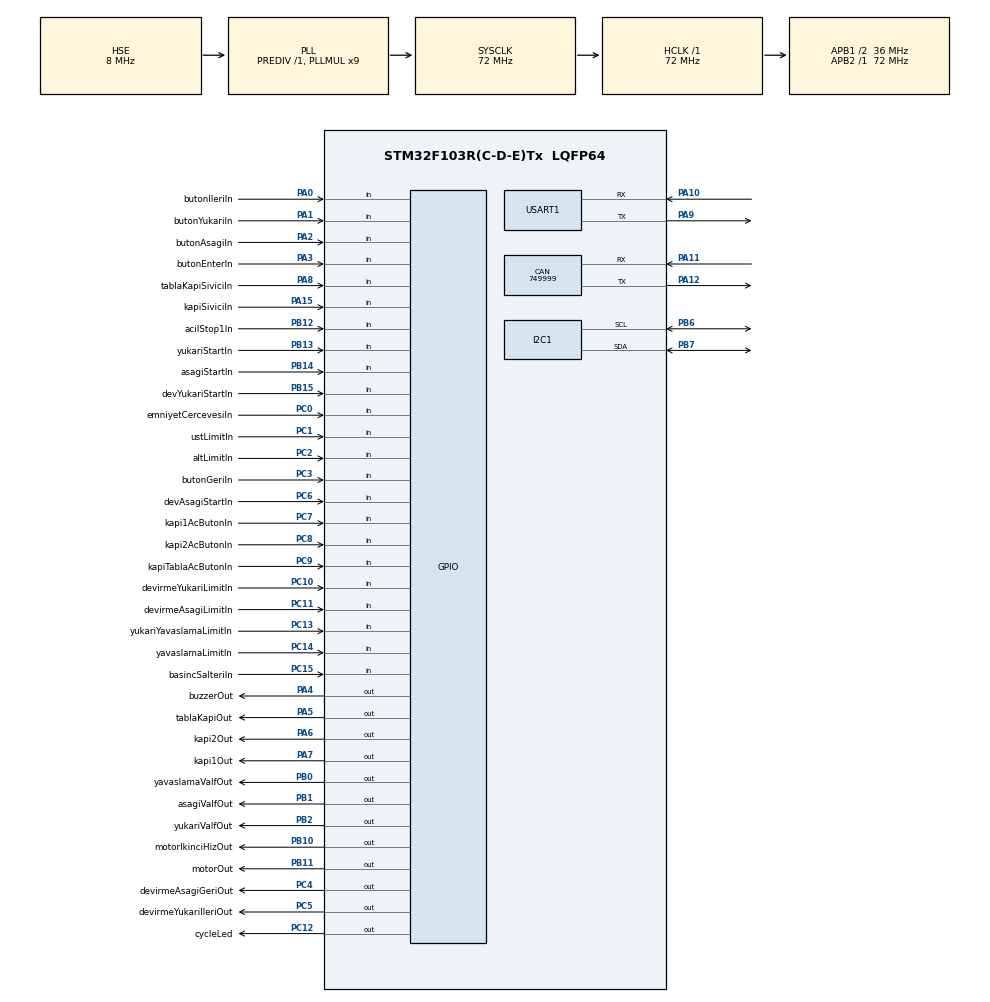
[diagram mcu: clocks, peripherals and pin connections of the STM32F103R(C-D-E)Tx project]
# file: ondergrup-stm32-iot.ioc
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CAN.CalculateBaudRate=749999
CAN.CalculateTimeBit=1333
CAN.CalculateTimeQuantum=444.44444444444446
I2C1.I2C_Mode=I2C_Fast
Mcu.Family=STM32F1
Mcu.Name=STM32F103R(C-D-E)Tx
Mcu.Package=LQFP64
NVIC.PriorityGroup=NVIC_PRIORITYGROUP_4
NVIC.TIM1_UP_IRQn=true\:0\:0\:false\:false\:true\:true\:true\:true
NVIC.USART1_IRQn=true\:0\:0\:false\:false\:true\:true\:true\:true
PA0-WKUP.GPIO_Label=butonIleriIn
PA0-WKUP.Signal=GPIO_Input
PA1.GPIO_Label=butonYukariIn
PA1.Signal=GPIO_Input
PA10.Mode=Asynchronous
PA10.Signal=USART1_RX
PA11.Mode=CAN_Activate
PA11.Signal=CAN_RX
PA12.Mode=CAN_Activate
PA12.Signal=CAN_TX
PA13.Mode=Serial_Wire
PA13.Signal=SYS_JTMS-SWDIO
PA14.Mode=Serial_Wire
PA14.Signal=SYS_JTCK-SWCLK
PA15.GPIO_Label=kapiSiviciIn
PA15.Signal=GPIO_Input
PA2.GPIO_Label=butonAsagiIn
PA2.Signal=GPIO_Input
PA3.GPIO_Label=butonEnterIn
PA3.Signal=GPIO_Input
PA4.GPIO_Label=buzzerOut
PA4.Signal=GPIO_Output
PA5.GPIO_Label=tablaKapiOut
PA5.Signal=GPIO_Output
PA6.GPIO_Label=kapi2Out
PA6.Signal=GPIO_Output
PA7.GPIO_Label=kapi1Out
PA7.Signal=GPIO_Output
PA8.GPIO_Label=tablaKapiSiviciIn
PA8.Signal=GPIO_Input
PA9.Mode=Asynchronous
PA9.Signal=USART1_TX
PB0.GPIO_Label=yavaslamaValfOut
PB0.Signal=GPIO_Output
PB1.GPIO_Label=asagiValfOut
PB1.Signal=GPIO_Output
PB10.GPIO_Label=motorIkinciHizOut
PB10.Signal=GPIO_Output
PB11.GPIO_Label=motorOut
PB11.Signal=GPIO_Output
PB12.GPIO_Label=acilStop1In
PB12.Signal=GPIO_Input
PB13.GPIO_Label=yukariStartIn
PB13.Signal=GPIO_Input
PB14.GPIO_Label=asagiStartIn
PB14.Signal=GPIO_Input
PB15.GPIO_Label=devYukariStartIn
PB15.Signal=GPIO_Input
PB2.GPIO_Label=yukariValfOut
PB2.Signal=GPIO_Output
PB6.Mode=I2C
PB6.Signal=I2C1_SCL
PB7.Mode=I2C
PB7.Signal=I2C1_SDA
PC0.GPIO_Label=emniyetCercevesiIn
PC0.Signal=GPIO_Input
PC1.GPIO_Label=ustLimitIn
PC1.Signal=GPIO_Input
PC10.GPIO_Label=devirmeYukariLimitIn
PC10.Signal=GPIO_Input
PC11.GPIO_Label=devirmeAsagiLimitIn
PC11.Signal=GPIO_Input
PC12.GPIO_Label=cycleLed
PC12.Signal=GPIO_Output
PC13-TAMPER-RTC.GPIO_Label=yukariYavaslamaLimitIn
PC13-TAMPER-RTC.Signal=GPIO_Input
PC14-OSC32_IN.GPIO_Label=yavaslamaLimitIn
PC14-OSC32_IN.Signal=GPIO_Input
PC15-OSC32_OUT.GPIO_Label=basincSalteriIn
PC15-OSC32_OUT.Signal=GPIO_Input
PC2.GPIO_Label=altLimitIn
PC2.Signal=GPIO_Input
PC3.GPIO_Label=butonGeriIn
PC3.Signal=GPIO_Input
PC4.GPIO_Label=devirmeAsagiGeriOut
PC4.Signal=GPIO_Output
PC5.GPIO_Label=devirmeYukariIleriOut
PC5.Signal=GPIO_Output
PC6.GPIO_Label=devAsagiStartIn
PC6.Signal=GPIO_Input
PC7.GPIO_Label=kapi1AcButonIn
PC7.Signal=GPIO_Input
PC8.GPIO_Label=kapi2AcButonIn
PC8.Signal=GPIO_Input
PC9.GPIO_Label=kapiTablaAcButonIn
PC9.Signal=GPIO_Input
PD0-OSC_IN.Mode=HSE-External-Oscillator
PD0-OSC_IN.Signal=RCC_OSC_IN
PD1-OSC_OUT.Mode=HSE-External-Oscillator
PD1-OSC_OUT.Signal=RCC_OSC_OUT
ProjectManager.HeapSize=0x200
ProjectManager.StackSize=0x400
ProjectManager.TargetToolchain=STM32CubeIDE
RCC.AHBFreq_Value=72000000
RCC.APB1CLKDivider=RCC_HCLK_DIV2
RCC.APB1Freq_Value=36000000
RCC.APB1TimFreq_Value=72000000
RCC.APB2Freq_Value=72000000
RCC.APB2TimFreq_Value=72000000
RCC.HCLKFreq_Value=72000000
RCC.PLLMUL=RCC_PLL_MUL9
RCC.PLLSourceVirtual=RCC_PLLSOURCE_HSE
RCC.SYSCLKFreq_VALUE=72000000
RCC.SYSCLKSource=RCC_SYSCLKSOURCE_PLLCLK
RCC.USBFreq_Value=72000000
TIM1.Period=1999
TIM1.Prescaler=35999
USART1.VirtualMode=VM_ASYNC
VP_CRC_VS_CRC.Mode=CRC_Activate
VP_TIM1_VS_ClockSourceINT.Mode=Internal
board=custom

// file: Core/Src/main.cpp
/* USER CODE BEGIN Header */
/**
  ******************************************************************************
  * @file           : main.c
  * @brief          : Main program body
  ******************************************************************************
  * @attention
  *
  * Copyright (c) 2024 STMicroelectronics.
  * All rights reserved.
  *
  * This software is licensed under terms that can be found in the LICENSE file
  * in the root directory of this software component.
  * If no LICENSE file comes with this software, it is provided AS-IS.
  *
  ******************************************************************************
  */
/* USER CODE END Header */
#include "main.h"
/* USER CODE BEGIN Includes */
#include "Instance.h"
#include "HardwareTest.h"
/* USER CODE END Includes */

CAN_HandleTypeDef hcan;

CRC_HandleTypeDef hcrc;

I2C_HandleTypeDef hi2c1;

TIM_HandleTypeDef htim1;

UART_HandleTypeDef huart1;

void SystemClock_Config(void);
static void MX_GPIO_Init(void);
static void MX_CAN_Init(void);
static void MX_I2C1_Init(void);
static void MX_TIM1_Init(void);
static void MX_USART1_UART_Init(void);
static void MX_CRC_Init(void);

/* USER CODE BEGIN 0 */
void HAL_TIM_PeriodElapsedCallback(TIM_HandleTypeDef *htim) { /*------timer kesmesinde islem yapmak için */
	globalVars.millis=globalVars.millis+1;
}
/* USER CODE END 0 */

int main(void)
{

  /* MCU Configuration--------------------------------------------------------*/

  /* Reset of all peripherals, Initializes the Flash interface and the Systick. */
  HAL_Init();

  /* Configure the system clock */
  SystemClock_Config();

  /* Initialize all configured peripherals */
  MX_GPIO_Init();
  MX_CAN_Init();
  MX_I2C1_Init();
  MX_TIM1_Init();
  MX_USART1_UART_Init();
  MX_CRC_Init();
  /* USER CODE BEGIN 2 */
  esp.init(&huart1, "yourSSID", "yourPassword");

  //Update
  checkAndUpdateFirmware(&huart1);

  HAL_GPIO_WritePin(GPIOB, GPIO_PIN_6, GPIO_PIN_SET);
  HAL_GPIO_WritePin(GPIOB, GPIO_PIN_7, GPIO_PIN_SET);
  HAL_Delay(10);
  lcd.init();
  HAL_Delay(10);

  HAL_TIM_Base_Start_IT(&htim1);
  while(HAL_I2C_GetError(&hi2c1) == HAL_I2C_ERROR_AF);
  while (HAL_I2C_GetState(&hi2c1) != HAL_I2C_STATE_READY);

  HAL_GPIO_WritePin(motorOut_GPIO_Port, motorOut_Pin, GPIO_PIN_RESET);
  HAL_GPIO_WritePin(motorIkinciHizOut_GPIO_Port, motorIkinciHizOut_Pin, GPIO_PIN_RESET);
  HAL_GPIO_WritePin(yukariValfOut_GPIO_Port, yukariValfOut_Pin, GPIO_PIN_RESET);
  HAL_GPIO_WritePin(asagiValfOut_GPIO_Port, asagiValfOut_Pin, GPIO_PIN_RESET);
  HAL_GPIO_WritePin(yavaslamaValfOut_GPIO_Port, yavaslamaValfOut_Pin, GPIO_PIN_RESET);
  HAL_GPIO_WritePin(devirmeYukariIleriOut_GPIO_Port, devirmeYukariIleriOut_Pin, GPIO_PIN_RESET);
  HAL_GPIO_WritePin(devirmeAsagiGeriOut_GPIO_Port, devirmeAsagiGeriOut_Pin, GPIO_PIN_RESET);
  HAL_GPIO_WritePin(kapi1Out_GPIO_Port, kapi1Out_Pin, GPIO_PIN_RESET);
  HAL_GPIO_WritePin(kapi2Out_GPIO_Port, kapi2Out_Pin, GPIO_PIN_RESET);
  HAL_GPIO_WritePin(tablaKapiOut_GPIO_Port, tablaKapiOut_Pin, GPIO_PIN_RESET);
  HAL_GPIO_WritePin(buzzerOut_GPIO_Port, buzzerOut_Pin, GPIO_PIN_RESET);

  i2cTest();
  HAL_Delay(100);
  lcd.print(1, 1, translation.splashTextGN.c_str());
  lcd.print(2, 1, translation.splashText2GN.c_str());
  HAL_Delay(1000);
  lcd.clear();

  eepromProcess.epromKontrol();
  HAL_Delay(500);

  globalVars.backLightTimer = globalVars.millis;

  wifiProcess.iotSetup();
  /* USER CODE END 2 */

  /* Infinite loop */
  while (1)
  {
	  process.mainLoop();
  }
}

void SystemClock_Config(void)
{
  RCC_OscInitTypeDef RCC_OscInitStruct = {0};
  RCC_ClkInitTypeDef RCC_ClkInitStruct = {0};

  /** Initializes the RCC Oscillators according to the specified parameters
  * in the RCC_OscInitTypeDef structure.
  */
  RCC_OscInitStruct.OscillatorType = RCC_OSCILLATORTYPE_HSE;
  RCC_OscInitStruct.HSEState = RCC_HSE_ON;
  RCC_OscInitStruct.HSEPredivValue = RCC_HSE_PREDIV_DIV1;
  RCC_OscInitStruct.HSIState = RCC_HSI_ON;
  RCC_OscInitStruct.PLL.PLLState = RCC_PLL_ON;
  RCC_OscInitStruct.PLL.PLLSource = RCC_PLLSOURCE_HSE;
  RCC_OscInitStruct.PLL.PLLMUL = RCC_PLL_MUL9;
  if (HAL_RCC_OscConfig(&RCC_OscInitStruct) != HAL_OK)
  {
    Error_Handler();
  }

  /** Initializes the CPU, AHB and APB buses clocks
  */
  RCC_ClkInitStruct.ClockType = RCC_CLOCKTYPE_HCLK|RCC_CLOCKTYPE_SYSCLK
                              |RCC_CLOCKTYPE_PCLK1|RCC_CLOCKTYPE_PCLK2;
  RCC_ClkInitStruct.SYSCLKSource = RCC_SYSCLKSOURCE_PLLCLK;
  RCC_ClkInitStruct.AHBCLKDivider = RCC_SYSCLK_DIV1;
  RCC_ClkInitStruct.APB1CLKDivider = RCC_HCLK_DIV2;
  RCC_ClkInitStruct.APB2CLKDivider = RCC_HCLK_DIV1;

  if (HAL_RCC_ClockConfig(&RCC_ClkInitStruct, FLASH_LATENCY_2) != HAL_OK)
  {
    Error_Handler();
  }
}

static void MX_CAN_Init(void)
{

  hcan.Instance = CAN1;
  hcan.Init.Prescaler = 16;
  hcan.Init.Mode = CAN_MODE_NORMAL;
  hcan.Init.SyncJumpWidth = CAN_SJW_1TQ;
  hcan.Init.TimeSeg1 = CAN_BS1_1TQ;
  hcan.Init.TimeSeg2 = CAN_BS2_1TQ;
  hcan.Init.TimeTriggeredMode = DISABLE;
  hcan.Init.AutoBusOff = DISABLE;
  hcan.Init.AutoWakeUp = DISABLE;
  hcan.Init.AutoRetransmission = DISABLE;
  hcan.Init.ReceiveFifoLocked = DISABLE;
  hcan.Init.TransmitFifoPriority = DISABLE;
  if (HAL_CAN_Init(&hcan) != HAL_OK)
  {
    Error_Handler();
  }

}

static void MX_CRC_Init(void)
{

  hcrc.Instance = CRC;
  if (HAL_CRC_Init(&hcrc) != HAL_OK)
  {
    Error_Handler();
  }

}

static void MX_I2C1_Init(void)
{

  hi2c1.Instance = I2C1;
  hi2c1.Init.ClockSpeed = 400000;
  hi2c1.Init.DutyCycle = I2C_DUTYCYCLE_2;
  hi2c1.Init.OwnAddress1 = 0;
  hi2c1.Init.AddressingMode = I2C_ADDRESSINGMODE_7BIT;
  hi2c1.Init.DualAddressMode = I2C_DUALADDRESS_DISABLE;
  hi2c1.Init.OwnAddress2 = 0;
  hi2c1.Init.GeneralCallMode = I2C_GENERALCALL_DISABLE;
  hi2c1.Init.NoStretchMode = I2C_NOSTRETCH_DISABLE;
  if (HAL_I2C_Init(&hi2c1) != HAL_OK)
  {
    Error_Handler();
  }

}

static void MX_TIM1_Init(void)
{

  TIM_ClockConfigTypeDef sClockSourceConfig = {0};
  TIM_MasterConfigTypeDef sMasterConfig = {0};

  htim1.Instance = TIM1;
  htim1.Init.Prescaler = 35999;
  htim1.Init.CounterMode = TIM_COUNTERMODE_UP;
  htim1.Init.Period = 1999;
  htim1.Init.ClockDivision = TIM_CLOCKDIVISION_DIV1;
  htim1.Init.RepetitionCounter = 0;
  htim1.Init.AutoReloadPreload = TIM_AUTORELOAD_PRELOAD_DISABLE;
  if (HAL_TIM_Base_Init(&htim1) != HAL_OK)
  {
    Error_Handler();
  }
  sClockSourceConfig.ClockSource = TIM_CLOCKSOURCE_INTERNAL;
  if (HAL_TIM_ConfigClockSource(&htim1, &sClockSourceConfig) != HAL_OK)
  {
    Error_Handler();
  }
  sMasterConfig.MasterOutputTrigger = TIM_TRGO_RESET;
  sMasterConfig.MasterSlaveMode = TIM_MASTERSLAVEMODE_DISABLE;
  if (HAL_TIMEx_MasterConfigSynchronization(&htim1, &sMasterConfig) != HAL_OK)
  {
    Error_Handler();
  }

}

static void MX_USART1_UART_Init(void)
{

  huart1.Instance = USART1;
  huart1.Init.BaudRate = 115200;
  huart1.Init.WordLength = UART_WORDLENGTH_8B;
  huart1.Init.StopBits = UART_STOPBITS_1;
  huart1.Init.Parity = UART_PARITY_NONE;
  huart1.Init.Mode = UART_MODE_TX_RX;
  huart1.Init.HwFlowCtl = UART_HWCONTROL_NONE;
  huart1.Init.OverSampling = UART_OVERSAMPLING_16;
  if (HAL_UART_Init(&huart1) != HAL_OK)
  {
    Error_Handler();
  }

}

static void MX_GPIO_Init(void)
{
  GPIO_InitTypeDef GPIO_InitStruct = {0};

  /* GPIO Ports Clock Enable */
  __HAL_RCC_GPIOC_CLK_ENABLE();
  __HAL_RCC_GPIOD_CLK_ENABLE();
  __HAL_RCC_GPIOA_CLK_ENABLE();
  __HAL_RCC_GPIOB_CLK_ENABLE();

  /*Configure GPIO pin Output Level */
  HAL_GPIO_WritePin(GPIOA, buzzerOut_Pin|tablaKapiOut_Pin|kapi2Out_Pin|kapi1Out_Pin, GPIO_PIN_RESET);

  /*Configure GPIO pin Output Level */
  HAL_GPIO_WritePin(GPIOC, devirmeAsagiGeriOut_Pin|devirmeYukariIleriOut_Pin|cycleLed_Pin, GPIO_PIN_RESET);

  /*Configure GPIO pin Output Level */
  HAL_GPIO_WritePin(GPIOB, yavaslamaValfOut_Pin|asagiValfOut_Pin|yukariValfOut_Pin|motorIkinciHizOut_Pin
                          |motorOut_Pin, GPIO_PIN_RESET);

  /*Configure GPIO pins : yukariYavaslamaLimitIn_Pin yavaslamaLimitIn_Pin basincSalteriIn_Pin emniyetCercevesiIn_Pin
                           ustLimitIn_Pin altLimitIn_Pin butonGeriIn_Pin devAsagiStartIn_Pin
                           kapi1AcButonIn_Pin kapi2AcButonIn_Pin kapiTablaAcButonIn_Pin devirmeYukariLimitIn_Pin
                           devirmeAsagiLimitIn_Pin */
  GPIO_InitStruct.Pin = yukariYavaslamaLimitIn_Pin|yavaslamaLimitIn_Pin|basincSalteriIn_Pin|emniyetCercevesiIn_Pin
                          |ustLimitIn_Pin|altLimitIn_Pin|butonGeriIn_Pin|devAsagiStartIn_Pin
                          |kapi1AcButonIn_Pin|kapi2AcButonIn_Pin|kapiTablaAcButonIn_Pin|devirmeYukariLimitIn_Pin
                          |devirmeAsagiLimitIn_Pin;
  GPIO_InitStruct.Mode = GPIO_MODE_INPUT;
  GPIO_InitStruct.Pull = GPIO_NOPULL;
  HAL_GPIO_Init(GPIOC, &GPIO_InitStruct);

  /*Configure GPIO pins : butonIleriIn_Pin butonYukariIn_Pin butonAsagiIn_Pin butonEnterIn_Pin
                           tablaKapiSiviciIn_Pin kapiSiviciIn_Pin */
  GPIO_InitStruct.Pin = butonIleriIn_Pin|butonYukariIn_Pin|butonAsagiIn_Pin|butonEnterIn_Pin
                          |tablaKapiSiviciIn_Pin|kapiSiviciIn_Pin;
  GPIO_InitStruct.Mode = GPIO_MODE_INPUT;
  GPIO_InitStruct.Pull = GPIO_NOPULL;
  HAL_GPIO_Init(GPIOA, &GPIO_InitStruct);

  /*Configure GPIO pins : buzzerOut_Pin tablaKapiOut_Pin kapi2Out_Pin kapi1Out_Pin */
  GPIO_InitStruct.Pin = buzzerOut_Pin|tablaKapiOut_Pin|kapi2Out_Pin|kapi1Out_Pin;
  GPIO_InitStruct.Mode = GPIO_MODE_OUTPUT_PP;
  GPIO_InitStruct.Pull = GPIO_NOPULL;
  GPIO_InitStruct.Speed = GPIO_SPEED_FREQ_LOW;
  HAL_GPIO_Init(GPIOA, &GPIO_InitStruct);

  /*Configure GPIO pins : devirmeAsagiGeriOut_Pin devirmeYukariIleriOut_Pin cycleLed_Pin */
  GPIO_InitStruct.Pin = devirmeAsagiGeriOut_Pin|devirmeYukariIleriOut_Pin|cycleLed_Pin;
  GPIO_InitStruct.Mode = GPIO_MODE_OUTPUT_PP;
  GPIO_InitStruct.Pull = GPIO_NOPULL;
  GPIO_InitStruct.Speed = GPIO_SPEED_FREQ_LOW;
  HAL_GPIO_Init(GPIOC, &GPIO_InitStruct);

  /*Configure GPIO pins : yavaslamaValfOut_Pin asagiValfOut_Pin yukariValfOut_Pin motorIkinciHizOut_Pin
                           motorOut_Pin */
  GPIO_InitStruct.Pin = yavaslamaValfOut_Pin|asagiValfOut_Pin|yukariValfOut_Pin|motorIkinciHizOut_Pin
                          |motorOut_Pin;
  GPIO_InitStruct.Mode = GPIO_MODE_OUTPUT_PP;
  GPIO_InitStruct.Pull = GPIO_NOPULL;
  GPIO_InitStruct.Speed = GPIO_SPEED_FREQ_LOW;
  HAL_GPIO_Init(GPIOB, &GPIO_InitStruct);

  /*Configure GPIO pins : acilStop1In_Pin yukariStartIn_Pin asagiStartIn_Pin devYukariStartIn_Pin */
  GPIO_InitStruct.Pin = acilStop1In_Pin|yukariStartIn_Pin|asagiStartIn_Pin|devYukariStartIn_Pin;
  GPIO_InitStruct.Mode = GPIO_MODE_INPUT;
  GPIO_InitStruct.Pull = GPIO_NOPULL;
  HAL_GPIO_Init(GPIOB, &GPIO_InitStruct);

}

void Error_Handler(void)
{
  __disable_irq();
  while (1)
  {
  }
}
